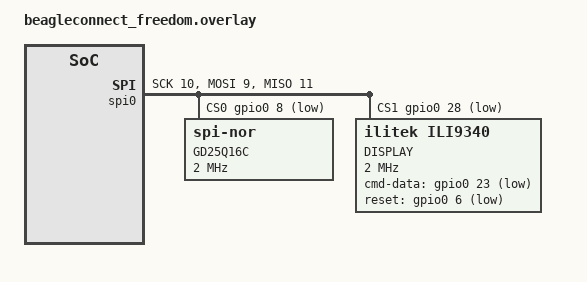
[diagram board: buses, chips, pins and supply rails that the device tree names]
/*
 * Copyright (c) 2020, Jason Kridner, BeagleBoard.org Foundation
 *
 * SPDX-License-Identifier: Apache-2.0
 */
#include <dt-bindings/display/ili9xxx.h>
&i2c0 {
	// Grove module defaults to 0x76
	// Environment Click defaults to 0x76
};


&spi0 {
    status = "okay";
    sck-pin = <10>;
    mosi-pin = <9>;
    miso-pin = <11>;
    /* cs-pin = <8>; */
    cs-gpios = <&gpio0 8 GPIO_ACTIVE_LOW>,
				<&gpio0 28 GPIO_ACTIVE_LOW>;
    nor_flash: gd25q16c@0 {
        compatible = "jedec,spi-nor";
        label = "GD25Q16C";
        reg = <0>;
        spi-max-frequency = <2000000>;
        size = <0x200000>;
        has-be32k;
        has-dpd;
        t-enter-dpd = <20000>;
        t-exit-dpd = <100000>;
        jedec-id = [c8 40 15];
    };

	ili9340@1 {
		compatible = "ilitek,ili9340";
		label = "DISPLAY";
		spi-max-frequency = <2000000>;
		reg = <1>;
		cmd-data-gpios = <&gpio0 23 GPIO_ACTIVE_LOW>; 
		reset-gpios = <&gpio0 6 GPIO_ACTIVE_LOW>;
		pixel-format = <ILI9XXX_PIXEL_FORMAT_RGB565>;
		rotation = <90>;
		frmctr1 = [00 18];
		pwctrl1 = [23 00];
		vmctrl1 = [3e 28];
		vmctrl2 = [86];
		pgamctrl = [0f 31 2b 0c 0e 08 4e f1 37 07 10 03 0e 09 00];
		ngamctrl = [00 0e 14 03 11 07 31 c1 48 08 0f 0c 31 36 0f];
	};
};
